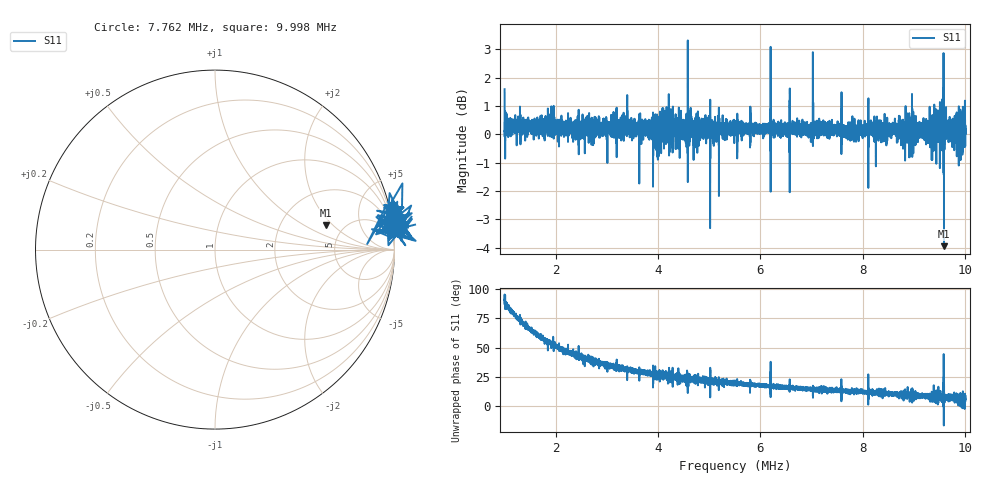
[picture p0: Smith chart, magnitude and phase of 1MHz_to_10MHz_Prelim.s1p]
# HZ S RI R 50
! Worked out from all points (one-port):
!   20200 points, 1 MHz to 10.01 MHz, reference 50 ohm
!   lowest |S11| = -3.9 dB at 9.59 MHz (marker M1), VSWR 4.48, Z = 183 + j83.5 ohm
!   |S11| at or under -10 dB: nowhere
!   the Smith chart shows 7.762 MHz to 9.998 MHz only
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1000000  0.0616 1.2
1045938  0.0847 1.028
1145396  0.1992 1.005
1255112  0.28 1.008
1465178  0.4022 0.9338
1760430  0.5771 0.8806
1929464  0.64 0.8296
2126150  0.7062 0.7632
2341122  0.7303 0.6946
2585084  0.772 0.6686
3004324  0.8323 0.5901
3252300  0.8677 0.5621
3436052  0.8722 0.5238
3965008  0.8985 0.4459
4052424  0.8995 0.4799
4378450  0.9215 0.4171
4544362  0.9482 0.4145
4634900  0.9607 0.4237
5504600  0.9862 0.3392
6630750  0.9729 0.3099
7756900  0.9856 0.2286
8883050  1.009 0.1647
9314778  1.005 0.1577
9589960  0.6202 0.1358
9626532  0.9831 0.1315
9644818  1.008 0.1291
9956126  0.968 0.0852
1.000875e7  0.9531 0.0798
